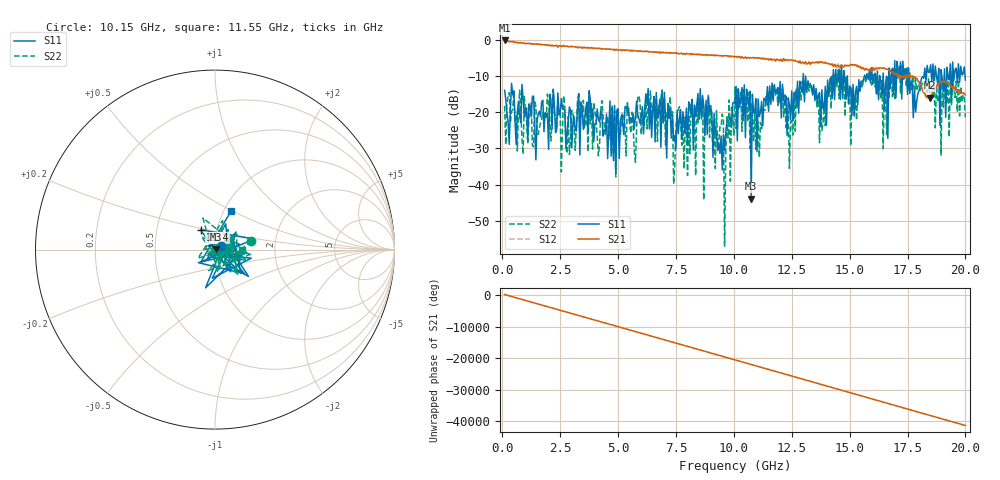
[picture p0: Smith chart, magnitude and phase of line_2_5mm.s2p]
#  HZ  S  RI  R  1.00
! Rohde & Schwarz ZVA67 4Ports - Version 4.11 - 1305.7002k04 SN: 101032
! Date: 2023-06-01 16:41:53
! Measurements: S11 S21 S12 S22
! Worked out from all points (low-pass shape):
!   399 points, 100 MHz to 20 GHz, reference 1 ohm
!   highest |S21| = -0.19 dB at 100 MHz (marker M1); lowest = -16.0 dB at 18.45 GHz (marker M2)
!   |S21| within 3 dB of the highest: start of sweep to 5.999 GHz; 6.241687 GHz to 6.259604 GHz (17.92 MHz wide, 0.287 % of centre)
!   lowest |S11| = -43.9 dB at 10.75 GHz (marker M3), VSWR 1.01, Z = 1.01 + j0.00277 ohm
!   |S11| at or under -10 dB: start of sweep to 12.99 GHz; 13.1 GHz to 14.29 GHz (1.189 GHz wide, 8.68 % of centre); 14.9 GHz to 15.64 GHz (737.8 MHz wide, 4.83 % of centre) (the widest 3 of 37)
!   |S22| runs from -57.0 to -7.1 dB; largest |S21 - S12| = 2
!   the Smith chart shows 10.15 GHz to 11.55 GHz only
!   S11 on the Smith chart (normalised r, x): 10.15 GHz: 1.07, +0.05; 11.4 GHz: 0.83, +0.19; 11.55 GHz: 1.08, +0.48
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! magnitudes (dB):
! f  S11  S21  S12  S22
! 100 MHz  -13.9  -0.2  -0.2  -18.3
! 3.45 GHz  -19.4  -2.3  -2.2  -19.0
! 6.75 GHz  -20.4  -3.3  -3.4  -18.2
! 7.4 GHz  -27.9  -3.6  -3.6  -39.8
! 8.65 GHz  -15.4  -4.3  -4.1  -17.0
! 8.7 GHz  -18.1  -4.1  -4.2  -44.2
! 8.8 GHz  -16.7  -4.2  -4.2  -17.7
! 9.5 GHz  -35.9  -4.5  -4.3  -20.5
! 9.6 GHz  -30.6  -4.4  -4.5  -57.0
! 9.7 GHz  -22.9  -4.4  -4.6  -20.8
! 9.85 GHz  -21.4  -4.6  -4.6  -39.0
! 10.05 GHz  -17.7  -4.6  -4.7  -13.0
! 10.15 GHz  -27.9  -4.8  -4.9  -13.7
! 10.7 GHz  -14.2  -5.0  -5.0  -30.0
! 10.75 GHz  -43.9  -5.0  -4.8  -17.5
! 10.8 GHz  -15.0  -4.9  -5.0  -20.7
! 11.4 GHz  -17.3  -5.4  -5.2  -15.6
! 11.55 GHz  -12.8  -5.5  -5.2  -16.4
! 13.4 GHz  -15.2  -6.3  -6.0  -14.3
! 16.7 GHz  -7.8  -8.4  -8.7  -15.9
! 18.45 GHz  -9.0  -16.0  -16.0  -14.4
! 20 GHz  -11.1  -15.2  -15.2  -21.4
